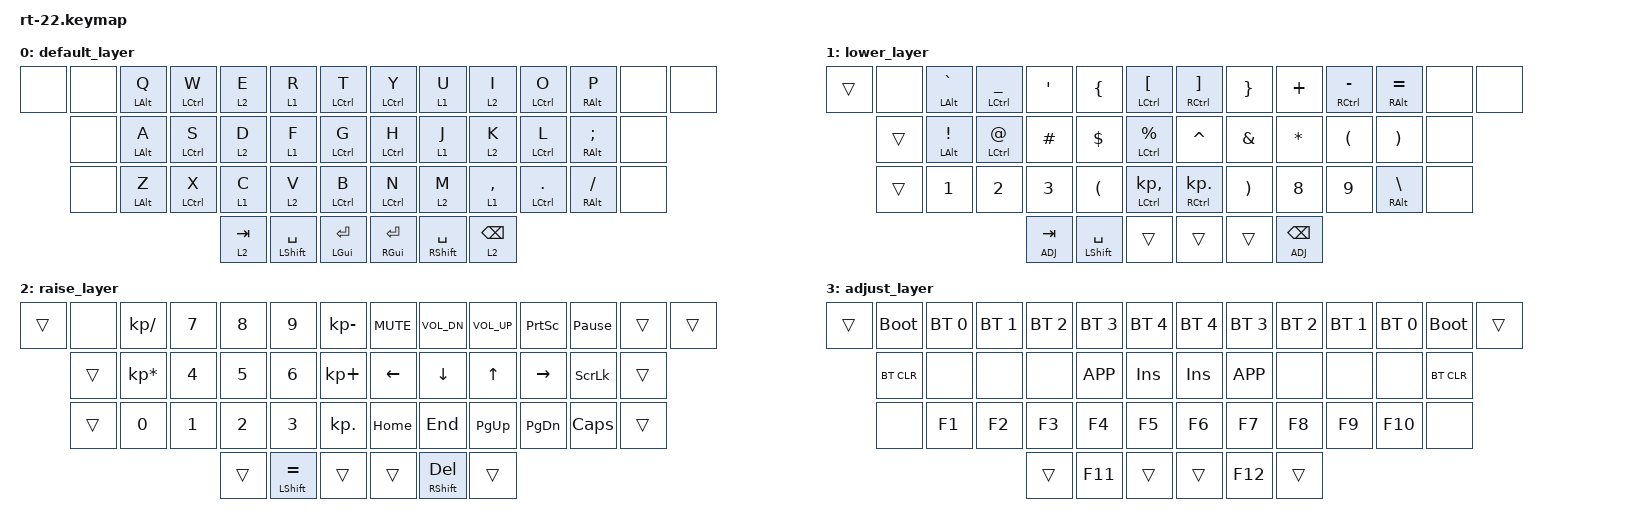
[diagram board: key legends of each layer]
/*
 * Copyright (c) 2020 The ZMK Contributors
 *
 * SPDX-License-Identifier: MIT
 */

#include <behaviors.dtsi>
#include <dt-bindings/zmk/keys.h>
#include <dt-bindings/zmk/bt.h>

#define DEF 0
#define LWR 1
#define RSE 2
#define ADJ 3

&lt {
    quick_tap_ms = <200>;
    flavor = "balanced";
};

&mt {
    quick_tap_ms = <200>;
    flavor = "balanced";
};

/ {

    combos {
        compatible = "zmk,combos";
        combo_esc_r {
            timeout-ms = <50>;
            key-positions = <4 5>;
            bindings = <&kp ESC>;
        };
        combo_esc_l {
            timeout-ms = <50>;
            key-positions = <8 9>;
            bindings = <&kp ESC>;
        };
        combo_caps_l {
            timeout-ms = <50>;
            key-positions = <3 4>;
            bindings = <&kp CAPS>;
        };
        combo_caps_r {
            timeout-ms = <50>;
            key-positions = <9 10>;
            bindings = <&kp CAPS>;
        };
    };



    keymap {
        compatible = "zmk,keymap";

        default_layer {
            // -----------------------------------------------------------------------------------------
            // |    |   ~  | LALT/Q | LCTRL/W |  E  |  R  |  T  |   |  Y  |  U   |  I  |  O  |  P  |  [   | GUI/] |
            //      |      | LALT/A | LCTRL/S |  D  |  F  |  G  |   |  H  |  J   |  K  |  L  |  ;  |CTRL/'|
            //      |      | LALT/Z | LCTRL/X |  C  |  V  |  B  |   |  N  |  M   |  ,  |  .  |  /  | RALT |
            //                               | RSE | SPC | LWR |   | LWR | SPC | RSE |

            bindings = <
&none  &none  &mt LALT Q  &mt LCTRL W    &lt 2 E          &lt 1 R   &mt LCTRL T   &mt LCTRL Y          &lt 1 U      &lt 2 I    &mt LCTRL O     &mt RALT P  &none  &none
           &none  &mt LALT A  &mt LCTRL S    &lt 2 D          &lt 1 F   &mt LCTRL G   &mt LCTRL H          &lt 1 J      &lt 2 K    &mt LCTRL L  &mt RALT SEMI  &none
           &none  &mt LALT Z  &mt LCTRL X    &lt 1 C          &lt 2 V   &mt LCTRL B   &mt LCTRL N          &lt 2 M  &lt 1 COMMA  &mt LCTRL DOT  &mt RALT FSLH  &none
                                           &lt 2 TAB  &mt LSHFT SPACE  &mt LGUI RET  &mt RGUI RET  &mt RSHFT SPACE   &lt 2 BSPC
            >;
        };

        lower_layer {
            // -----------------------------------------------------------------------------------------
            // |     |  _  |  F1 |  F2 |  F3 |  F4 |  F5 |   |  F6 |  F7 |  F8 |  F9 | F10 | F11 | F12 |
            //       |  +  |  !  |  @  |  #  |  $  |  %  |   |  ^  |  &  |  *  |  (  |  )  |  -  |
            //       |  =  |  1  |  2  |  3  |  4  |  5  |   |  6  |  7  |  8  |  9  |  0  |     |
            //                    | GUI |     | SPC |   | ENT |     | ALT |

            bindings = <
&trans   &none  &mt LALT GRAVE  &mt LCTRL UNDER  &kp SINGLE_QUOTE   &kp LEFT_BRACE  &mt LCTRL LEFT_BRACKET  &mt RCTRL RIGHT_BRACKET  &kp RIGHT_BRACE  &kp PLUS  &mt RCTRL MINUS  &mt RALT EQUAL  &none  &none
        &trans   &mt LALT EXCL     &mt LCTRL AT          &kp HASH         &kp DLLR         &mt LCTRL PRCNT                &kp CARET         &kp AMPS  &kp STAR         &kp LPAR        &kp RPAR  &none
        &trans          &kp N1           &kp N2            &kp N3         &kp LPAR      &mt LCTRL KP_COMMA         &mt RCTRL KP_DOT         &kp RPAR    &kp N8           &kp N9   &mt RALT BSLH  &none
                                                           &lt ADJ TAB  &mt LSHFT SPACE                  &trans                   &trans   &trans   &lt ADJ BSPC
            >;
        };

        raise_layer {
            // -----------------------------------------------------------------------------------------
            // |     | NMLK |  /  |  7  |  8  |  9  |  -  |   | MUT  | VOLD | VOLU | PRSC | PAUS  | SCLK |     |
            //       | CTRL |  *  |  4  |  5  |  6  |  +  |   | LEFT | DOWN |  UP  | RGHT | LSHFT |      |
            //       |      |  0  |  1  |  2  |  3  |  .  |   | HOME | END  | PGUP | PGDN | CLCK  |      |
            //                          |     |     | ADJ |   | ADJ  |      |      |

            bindings = <
&trans   &none     &kp KP_SLASH  &kp N7  &kp N8            &kp N9  &kp KP_MINUS  &kp C_MUTE      &kp C_VOL_DN  &kp C_VOL_UP  &kp PSCRN  &kp PAUSE_BREAK  &trans  &trans
        &trans  &kp KP_MULTIPLY  &kp N4  &kp N5            &kp N6   &kp KP_PLUS    &kp LEFT          &kp DOWN        &kp UP  &kp RIGHT   &kp SCROLLLOCK  &trans
        &trans           &kp N0  &kp N1  &kp N2            &kp N3    &kp KP_DOT    &kp HOME           &kp END     &kp PG_UP  &kp PG_DN         &kp CAPS  &trans
                                         &trans  &mt LSHIFT EQUAL        &trans      &trans  &mt RSHFT DELETE        &trans
            >;
        };

        adjust_layer {
            // -----------------------------------------------------------------------------------------
            // | RST | BLDR  | BT0 | BT1 | BT2 | BT3 | BT4 |   | BT4 | BT3 | BT2 | BT1 | BT0 | BLDR  | RST |
            //       | BTCLR |     |     |     | APP | INS |   | INS | APP |     |     |     | BTCLR |
            //       |       |     |     |     |     |     |   |     |     |     |     |     |       |
            //                           |     |     |     |   |     |     |     |

            bindings = <
&trans  &bootloader  &bt BT_SEL 0  &bt BT_SEL 1  &bt BT_SEL 2  &bt BT_SEL 3  &bt BT_SEL 4  &bt BT_SEL 4  &bt BT_SEL 3  &bt BT_SEL 2  &bt BT_SEL 1  &bt BT_SEL 0  &bootloader  &trans
         &bt BT_CLR         &none         &none         &none     &kp K_APP       &kp INS       &kp INS     &kp K_APP         &none         &none         &none   &bt BT_CLR
              &none        &kp F1        &kp F2        &kp F3        &kp F4        &kp F5        &kp F6        &kp F7        &kp F8        &kp F9       &kp F10        &none
                                                       &trans       &kp F11        &trans        &trans       &kp F12        &trans
            >;
        };
    };
};
